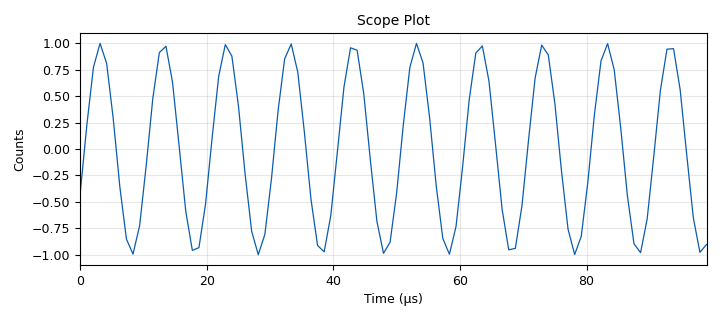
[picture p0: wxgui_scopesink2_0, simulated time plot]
<?xml version='1.0' encoding='utf-8'?>
<?grc format='1' created='3.7.9'?>
<flow_graph>
<block>
<key>options</key>
<param><key>id</key><value>top_block</value></param>
<param><key>category</key><value>Custom</value></param>
<param><key>generate_options</key><value>wx_gui</value></param>
</block>
<block>
<key>variable</key>
<param><key>id</key><value>fc</value></param>
<param><key>value</key><value>100e3</value></param>
</block>
<block>
<key>variable</key>
<param><key>id</key><value>fm</value></param>
<param><key>value</key><value>1e3</value></param>
</block>
<block>
<key>variable</key>
<param><key>id</key><value>m</value></param>
<param><key>value</key><value>0.5</value></param>
</block>
<block>
<key>variable</key>
<param><key>id</key><value>samp_rate</value></param>
<param><key>value</key><value>960e3</value></param>
</block>
<block>
<key>analog_phase_modulator_fc</key>
<param><key>id</key><value>analog_phase_modulator_fc_0</value></param>
<param><key>sensitivity</key><value>1</value></param>
</block>
<block>
<key>analog_sig_source_x</key>
<param><key>id</key><value>analog_sig_source_x_0</value></param>
<param><key>amp</key><value>1</value></param>
<param><key>freq</key><value>fc</value></param>
<param><key>offset</key><value>0</value></param>
<param><key>type</key><value>complex</value></param>
<param><key>samp_rate</key><value>samp_rate</value></param>
<param><key>waveform</key><value>analog.GR_COS_WAVE</value></param>
</block>
<block>
<key>blocks_complex_to_float</key>
<param><key>id</key><value>blocks_complex_to_float_0</value></param>
</block>
<block>
<key>blocks_multiply_const_vxx</key>
<param><key>id</key><value>blocks_multiply_const_vxx_0</value></param>
<param><key>const</key><value>2*3.14*m*fm</value></param>
<param><key>type</key><value>float</value></param>
</block>
<block>
<key>blocks_multiply_xx</key>
<param><key>id</key><value>blocks_multiply_xx_0</value></param>
<param><key>type</key><value>complex</value></param>
</block>
<block>
<key>blocks_throttle</key>
<param><key>id</key><value>blocks_throttle_0</value></param>
<param><key>samples_per_second</key><value>samp_rate</value></param>
<param><key>type</key><value>float</value></param>
</block>
<block>
<key>iir_filter_xxx</key>
<param><key>id</key><value>iir_filter_xxx_0</value></param>
<param><key>fftaps</key><value>[1/samp_rate]</value></param>
<param><key>fbtaps</key><value>[1,1]</value></param>
<param><key>type</key><value>ffd</value></param>
</block>
<block>
<key>analog_sig_source_x</key>
<param><key>id</key><value>message</value></param>
<param><key>amp</key><value>1</value></param>
<param><key>freq</key><value>1000</value></param>
<param><key>offset</key><value>0</value></param>
<param><key>type</key><value>float</value></param>
<param><key>samp_rate</key><value>samp_rate</value></param>
<param><key>waveform</key><value>analog.GR_COS_WAVE</value></param>
</block>
<block>
<key>wxgui_scopesink2</key>
<param><key>id</key><value>wxgui_scopesink2_0</value></param>
<param><key>ac_couple</key><value>False</value></param>
<param><key>num_inputs</key><value>1</value></param>
<param><key>samp_rate</key><value>samp_rate</value></param>
<param><key>t_scale</key><value>0</value></param>
<param><key>title</key><value>Scope Plot</value></param>
<param><key>trig_mode</key><value>wxgui.TRIG_MODE_AUTO</value></param>
<param><key>type</key><value>float</value></param>
<param><key>v_offset</key><value>0</value></param>
<param><key>v_scale</key><value>0</value></param>
<param><key>xy_mode</key><value>False</value></param>
<param><key>y_axis_label</key><value>Counts</value></param>
</block>
<connection><source_block_id>analog_phase_modulator_fc_0</source_block_id><sink_block_id>blocks_multiply_xx_0</sink_block_id><source_key>0</source_key><sink_key>0</sink_key></connection>
<connection><source_block_id>analog_sig_source_x_0</source_block_id><sink_block_id>blocks_multiply_xx_0</sink_block_id><source_key>0</source_key><sink_key>1</sink_key></connection>
<connection><source_block_id>blocks_complex_to_float_0</source_block_id><sink_block_id>wxgui_scopesink2_0</sink_block_id><source_key>0</source_key><sink_key>0</sink_key></connection>
<connection><source_block_id>blocks_multiply_const_vxx_0</source_block_id><sink_block_id>analog_phase_modulator_fc_0</sink_block_id><source_key>0</source_key><sink_key>0</sink_key></connection>
<connection><source_block_id>blocks_multiply_xx_0</source_block_id><sink_block_id>blocks_complex_to_float_0</sink_block_id><source_key>0</source_key><sink_key>0</sink_key></connection>
<connection><source_block_id>blocks_throttle_0</source_block_id><sink_block_id>blocks_multiply_const_vxx_0</sink_block_id><source_key>0</source_key><sink_key>0</sink_key></connection>
<connection><source_block_id>iir_filter_xxx_0</source_block_id><sink_block_id>blocks_throttle_0</sink_block_id><source_key>0</source_key><sink_key>0</sink_key></connection>
<connection><source_block_id>message</source_block_id><sink_block_id>iir_filter_xxx_0</sink_block_id><source_key>0</source_key><sink_key>0</sink_key></connection>
</flow_graph>
